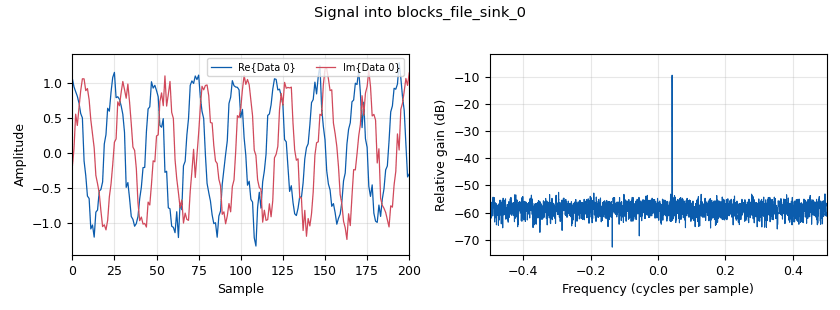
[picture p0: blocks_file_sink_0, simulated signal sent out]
<?xml version='1.0' encoding='utf-8'?>
<?grc format='1' created='3.7.5'?>
<flow_graph>
<block>
<key>options</key>
<param><key>id</key><value>top_block</value></param>
<param><key>generate_options</key><value>wx_gui</value></param>
<param><key>category</key><value>Custom</value></param>
</block>
<block>
<key>variable</key>
<param><key>id</key><value>samp_rate</value></param>
<param><key>value</key><value>12000000</value></param>
</block>
<block>
<key>analog_sig_source_x</key>
<param><key>id</key><value>analog_sig_source_x_0</value></param>
<param><key>type</key><value>complex</value></param>
<param><key>samp_rate</key><value>samp_rate</value></param>
<param><key>waveform</key><value>analog.GR_COS_WAVE</value></param>
<param><key>freq</key><value>500000</value></param>
<param><key>amp</key><value>1</value></param>
<param><key>offset</key><value>0</value></param>
</block>
<block>
<key>blocks_add_xx</key>
<param><key>id</key><value>blocks_add_xx_0</value></param>
<param><key>type</key><value>complex</value></param>
</block>
<block>
<key>blocks_throttle</key>
<param><key>id</key><value>blocks_throttle_0</value></param>
<param><key>type</key><value>complex</value></param>
<param><key>samples_per_second</key><value>samp_rate</value></param>
</block>
<block>
<key>analog_noise_source_x</key>
<param><key>id</key><value>analog_noise_source_x_0</value></param>
<param><key>type</key><value>complex</value></param>
<param><key>noise_type</key><value>analog.GR_GAUSSIAN</value></param>
<param><key>amp</key><value>0.2</value></param>
<param><key>seed</key><value>0</value></param>
</block>
<block>
<key>blocks_file_sink</key>
<param><key>id</key><value>blocks_file_sink_0</value></param>
<param><key>file</key><value>test.bin</value></param>
<param><key>type</key><value>complex</value></param>
</block>
<connection><source_block_id>analog_sig_source_x_0</source_block_id><sink_block_id>blocks_add_xx_0</sink_block_id><source_key>0</source_key><sink_key>0</sink_key></connection>
<connection><source_block_id>analog_noise_source_x_0</source_block_id><sink_block_id>blocks_add_xx_0</sink_block_id><source_key>0</source_key><sink_key>1</sink_key></connection>
<connection><source_block_id>blocks_add_xx_0</source_block_id><sink_block_id>blocks_throttle_0</sink_block_id><source_key>0</source_key><sink_key>0</sink_key></connection>
<connection><source_block_id>blocks_throttle_0</source_block_id><sink_block_id>blocks_file_sink_0</sink_block_id><source_key>0</source_key><sink_key>0</sink_key></connection>
</flow_graph>
